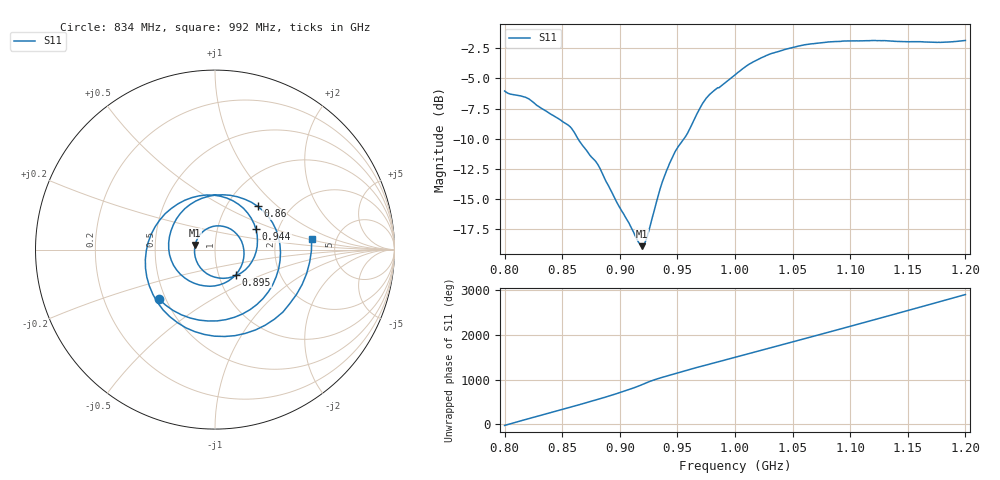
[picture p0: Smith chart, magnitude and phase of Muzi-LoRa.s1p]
! NanoVNA-App
! Date: 2026-05-22 19:30:35
! Start: 800MHz Stop: 1.2GHz Points: 401
! S-Parameter data: F S11
# Hz S RI R 50
!  Frequency  S11_Real  S11_Imag
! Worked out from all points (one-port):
!   401 points, 800 MHz to 1.2 GHz, reference 50 ohm
!   lowest |S11| = -18.9 dB at 919 MHz (marker M1), VSWR 1.26, Z = 40 + j2.09 ohm
!   |S11| at or under -10 dB: 863.6 MHz to 955.8 MHz (92.22 MHz wide, 10.1 % of centre)
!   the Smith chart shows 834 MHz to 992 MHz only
!   S11 on the Smith chart (normalised r, x): 834 MHz: 0.46, -0.31; 860 MHz: 1.38, +0.75; 895 MHz: 1.21, -0.35; 944 MHz: 1.54, +0.37; 992 MHz: 3.27, +0.54
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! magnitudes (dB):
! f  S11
! 800 MHz  -6.0
! 819 MHz  -6.6
! 834 MHz  -7.6
! 850 MHz  -8.6
! 856 MHz  -8.9
! 860 MHz  -9.4
! 867 MHz  -10.5
! 881 MHz  -12.2
! 895 MHz  -14.8
! 900 MHz  -15.7
! 916 MHz  -18.5
! 919 MHz  -18.9
! 921 MHz  -18.8
! 923 MHz  -18.3
! 936 MHz  -13.8
! 944 MHz  -11.9
! 950 MHz  -10.8
! 958 MHz  -9.7
! 974 MHz  -6.8
! 981 MHz  -6.1
! 992 MHz  -5.3
! 1 GHz  -4.7
! 1.022 GHz  -3.3
! 1.05 GHz  -2.4
! 1.065 GHz  -2.2
! 1.1 GHz  -1.9
! 1.15 GHz  -2.0
! 1.2 GHz  -1.9
